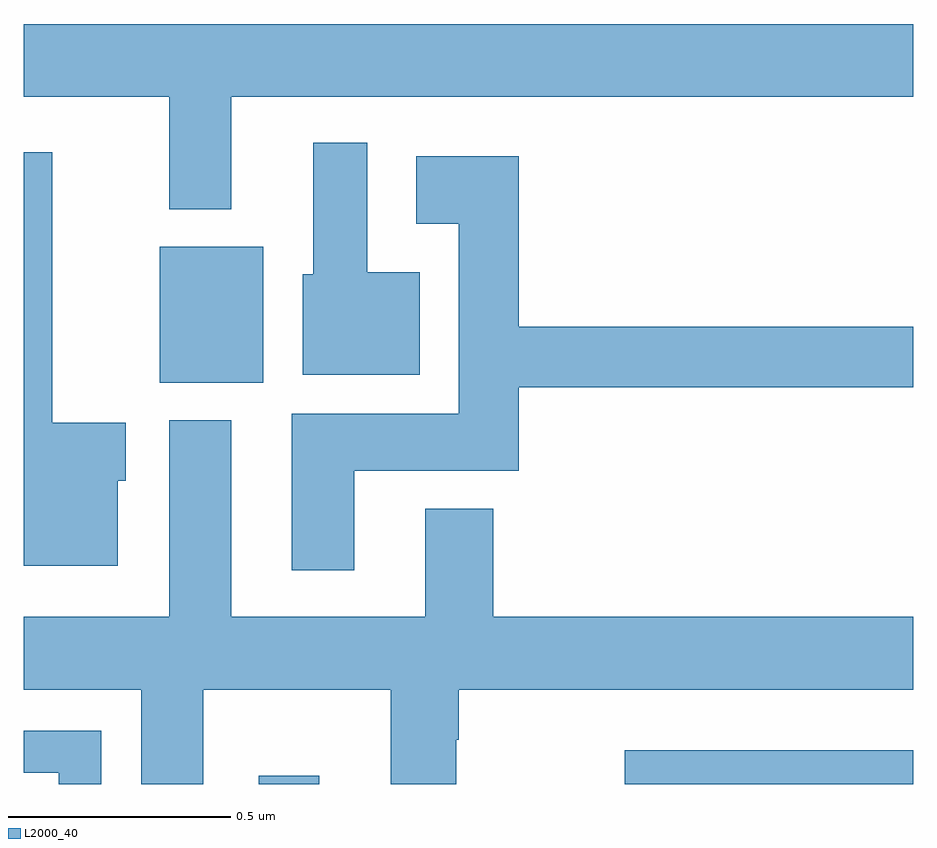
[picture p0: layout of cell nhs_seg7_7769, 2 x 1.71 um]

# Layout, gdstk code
import gdstk
lib = gdstk.Library(unit=1e-6, precision=1e-09)
def R(c, l, rs):  # rectangles x0, y0, x1, y1
    for r in rs: c.add(gdstk.rectangle(r[:2], r[2:], *l))
def P(c, l, *ps):  # polygons
    for p in ps: c.add(gdstk.Polygon(p, *l))
L2000_40 = (2000, 40)

nhs_seg7_7769 = lib.new_cell('nhs_seg7_7769')
R(nhs_seg7_7769, L2000_40, [(215.529,1071,215.665,1071.019), (216.351,1071,217,1071.076), (215.306,1071.902,215.539,1072.207)])
P(nhs_seg7_7769, L2000_40, [(215.467,1072.544),(217,1072.544),(217,1072.708),(215,1072.708),(215,1072.544),(215.327,1072.544),(215.327,1072.292),(215.467,1072.292)],
  [(215.89,1072.15),(215.773,1072.15),(215.773,1072.441),(215.651,1072.441),(215.651,1072.146),(215.627,1072.146),(215.627,1071.92),(215.89,1071.92)],
  [(215.212,1071.681),(215.23,1071.681),(215.23,1071.812),(215.065,1071.812),(215.065,1072.42),(215,1072.42),(215,1071.491),(215.212,1071.491)],
  [(215.743,1071.704),(216.113,1071.704),(216.113,1071.892),(217,1071.892),(217,1072.028),(216.113,1072.028),(216.113,1072.411),(215.883,1072.411),(215.883,1072.259),(215.978,1072.259),(215.978,1071.832),(215.603,1071.832),(215.603,1071.48),(215.743,1071.48)],
  [(215.404,1071.212),(215.825,1071.212),(215.825,1071),(215.973,1071),(215.973,1071.099),(215.978,1071.099),(215.978,1071.212),(217,1071.212),(217,1071.376),(216.056,1071.376),(216.056,1071.619),(215.903,1071.619),(215.903,1071.376),(215.467,1071.376),(215.467,1071.817),(215.327,1071.817),(215.327,1071.376),(215,1071.376),(215,1071.212),(215.264,1071.212),(215.264,1071),(215.404,1071)],
  [(215.175,1071.12),(215,1071.12),(215,1071.025),(215.079,1071.025),(215.079,1071),(215.175,1071)])

lib.write_gds('nhs_seg7_7769.gds')
